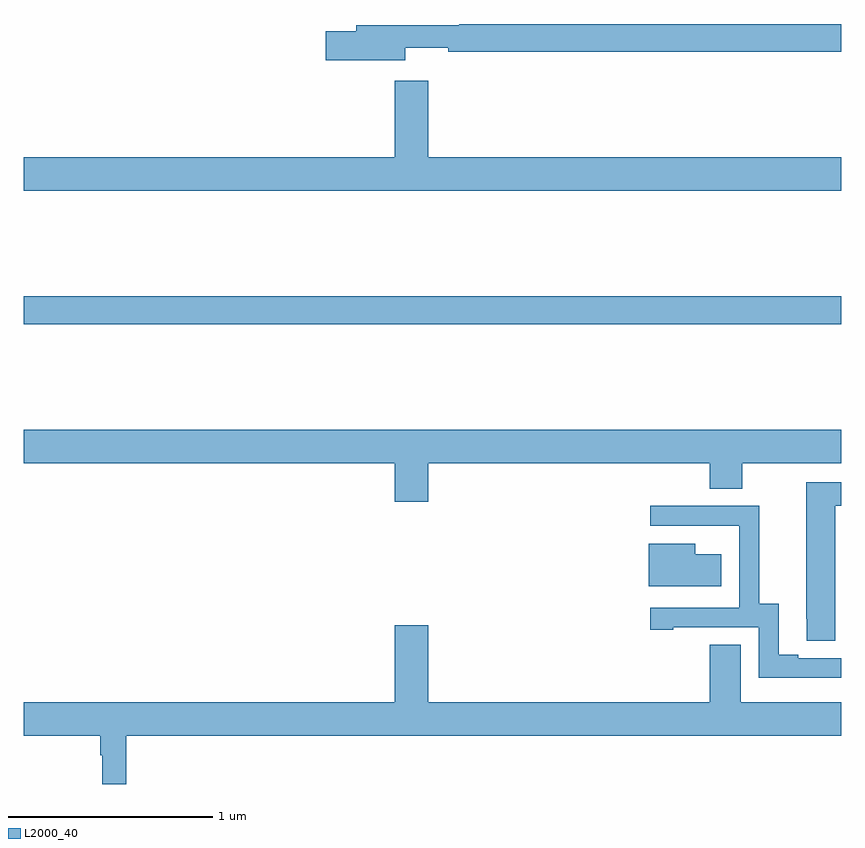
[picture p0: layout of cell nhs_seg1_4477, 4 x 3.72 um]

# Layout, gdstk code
import gdstk
lib = gdstk.Library(unit=1e-6, precision=1e-09)
def R(c, l, rs):  # rectangles x0, y0, x1, y1
    for r in rs: c.add(gdstk.rectangle(r[:2], r[2:], *l))
def P(c, l, *ps):  # polygons
    for p in ps: c.add(gdstk.Polygon(p, *l))
L2000_40 = (2000, 40)

nhs_seg1_4477 = lib.new_cell('nhs_seg1_4477')
R(nhs_seg1_4477, L2000_40, [(355,516.448,359,516.584)])
P(nhs_seg1_4477, L2000_40, [(356.866,517.799),(357.076,517.799),(357.076,517.78),(359,517.78),(359,517.916),(357.131,517.916),(357.131,517.909),(356.627,517.909),(356.627,517.88),(356.478,517.88),(356.478,517.738),(356.866,517.738)],
  [(359,517.264),(356.98,517.264),(356.98,517.639),(356.816,517.639),(356.816,517.264),(355,517.264),(355,517.1),(359,517.1)],
  [(356.98,515.768),(358.355,515.768),(358.355,515.644),(358.515,515.644),(358.515,515.768),(359,515.768),(359,515.932),(355,515.932),(355,515.768),(356.816,515.768),(356.816,515.58),(356.98,515.58)],
  [(358.969,515.56),(359,515.56),(359,515.676),(358.829,515.676),(358.829,515.008),(358.83,515.008),(358.83,514.9),(358.969,514.9)],
  [(359,514.815),(358.789,514.815),(358.789,514.83),(358.693,514.83),(358.693,515.081),(358.599,515.081),(358.599,515.559),(358.065,515.559),(358.065,515.463),(358.499,515.463),(358.499,515.462),(358.5,515.462),(358.5,515.061),(358.065,515.061),(358.065,514.953),(358.177,514.953),(358.177,514.965),(358.596,514.965),(358.596,514.719),(359,514.719)],
  [(358.411,515.323),(358.285,515.323),(358.285,515.374),(358.058,515.374),(358.058,515.165),(358.411,515.165)],
  [(355.502,514.436),(359,514.436),(359,514.6),(358.507,514.6),(358.507,514.88),(358.355,514.88),(358.355,514.6),(356.98,514.6),(356.98,514.975),(356.816,514.975),(356.816,514.6),(355,514.6),(355,514.436),(355.374,514.436),(355.374,514.34),(355.386,514.34),(355.386,514.199),(355.502,514.199)])

lib.write_gds('nhs_seg1_4477.gds')
